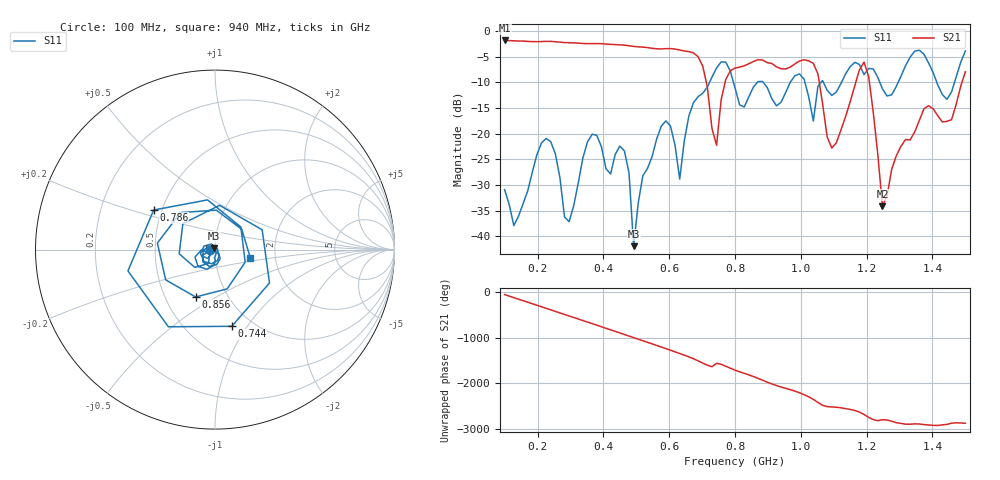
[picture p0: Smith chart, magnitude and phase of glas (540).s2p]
! NanoVNA-App
! Date: 2025-09-25 15:59:41
! Start: 100MHz Stop: 1,5GHz Points: 101
! S-Parameter data: F S11 S21 S12 S22
# Hz S RI R 50
!  Frequency  S11_Real  S11_Imag  S21_Real  S21_Imag  S12_Real  S12_Imag  S22_Real  S22_Imag
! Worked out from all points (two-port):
!   101 points, 100 MHz to 1.5 GHz, reference 50 ohm
!   highest |S21| = -1.80 dB at 100 MHz (marker M1); lowest = -34.1 dB at 1.248 GHz (marker M2)
!   |S21| within 3 dB of the highest: start of sweep to 684.5 MHz
!   lowest |S11| = -42.0 dB at 492 MHz (marker M3), VSWR 1.02, Z = 49.5 + j0.622 ohm
!   |S11| at or under -10 dB: start of sweep to 722.5 MHz; 795.4 MHz to 867.7 MHz (72.31 MHz wide, 8.7 % of centre); 886.2 MHz to 967.7 MHz (81.51 MHz wide, 8.79 % of centre) (the widest 3 of 7)
!   S12 and S22 are empty: the file has one direction only
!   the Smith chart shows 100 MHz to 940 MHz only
!   S11 on the Smith chart (normalised r, x): 100 MHz: 0.95, -0.01; 744 MHz: 0.81, -0.85; 786 MHz: 0.45, +0.24; 856 MHz: 0.71, -0.41; 940 MHz: 1.48, -0.15
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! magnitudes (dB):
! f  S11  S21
! 100 MHz  -30.9  -1.8
! 128 MHz  -37.9  -1.9
! 226 MHz  -20.9  -2.0
! 296 MHz  -37.2  -2.2
! 338 MHz  -24.7  -2.4
! 464 MHz  -23.4  -2.7
! 492 MHz  -42.0  -3.0
! 576 MHz  -18.5  -3.5
! 632 MHz  -28.9  -3.7
! 702 MHz  -12.1  -6.8
! 744 MHz  -7.2  -22.3
! 786 MHz  -7.8  -7.7
! 800 MHz  -11.1  -7.2
! 856 MHz  -10.9  -5.9
! 940 MHz  -13.9  -7.3
! 996 MHz  -8.3  -5.8
! 1.038 GHz  -17.5  -6.3
! 1.094 GHz  -12.5  -22.8
! 1.192 GHz  -8.5  -6.0
! 1.248 GHz  -11.3  -34.1
! 1.276 GHz  -12.4  -27.0
! 1.5 GHz  -3.9  -7.9
